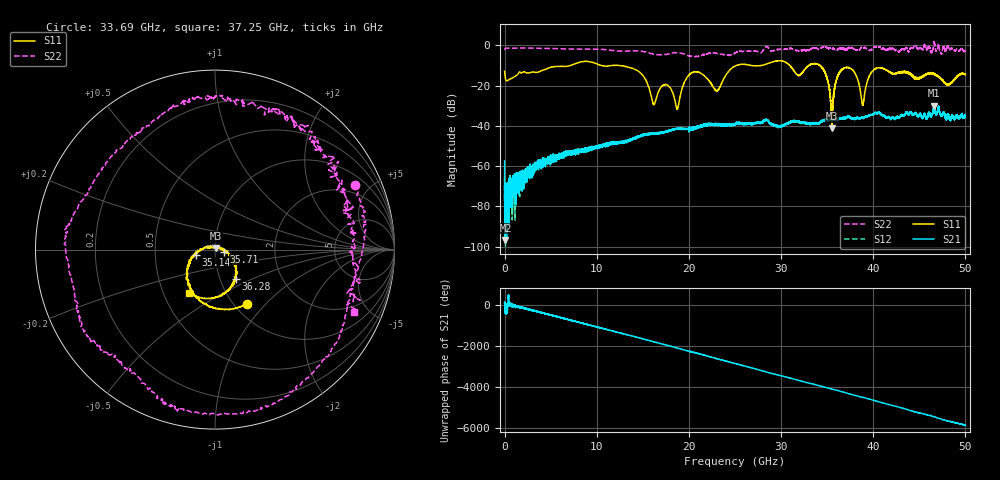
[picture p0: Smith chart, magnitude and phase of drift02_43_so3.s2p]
!Created with skrf (http://scikit-rf.org).
# Hz S RI R 50.0
!freq ReS11 ImS11 ReS21 ImS21 ReS12 ImS12 ReS22 ImS22
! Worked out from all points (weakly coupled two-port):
!   10001 points, 300 kHz to 50 GHz, reference 50 ohm
!   highest |S21| = -29.91 dB at 46.58 GHz (marker M1); lowest = -96.6 dB at 95.3 MHz (marker M2)
!   lowest |S11| = -41.2 dB at 35.54 GHz (marker M3), VSWR 1.02, Z = 50.5 + j0.732 ohm
!   |S11| at or under -10 dB: start of sweep to 7.178 GHz; 12.36 GHz to 25.18 GHz (12.82 GHz wide, 68.3 % of centre); 34.2 GHz to end of sweep (the widest 3 of 13)
!   |S22| runs from -5.7 to 2.4 dB; largest |S21 - S12| = 0.0033
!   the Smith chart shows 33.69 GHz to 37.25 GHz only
!   S11 on the Smith chart (normalised r, x): 33.69 GHz: 1.14, -0.78; 35.14 GHz: 0.81, -0.05; 35.71 GHz: 1.10, -0.02; 36.28 GHz: 1.19, -0.41; 37.25 GHz: 0.67, -0.35
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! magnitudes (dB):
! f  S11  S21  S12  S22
! 300 kHz  -12.9  -57.5  -65.4  -2.1
! 95.3 MHz  -16.7  -96.6  -76.5  -1.5
! 8.335 GHz  -8.2  -51.7  -51.7  -1.9
! 14.03 GHz  -11.8  -46.4  -46.1  -2.8
! 16.15 GHz  -29.3  -43.8  -43.8  -4.5
! 16.67 GHz  -23.3  -43.3  -43.7  -4.7
! 18.74 GHz  -31.8  -41.3  -41.6  -3.7
! 20.24 GHz  -13.9  -41.3  -41.7  -5.5
! 23.04 GHz  -22.6  -39.3  -39.3  -4.1
! 25 GHz  -10.3  -39.6  -39.2  -3.9
! 33.34 GHz  -9.4  -38.7  -38.5  -1.5
! 33.69 GHz  -9.1  -38.8  -38.5  -1.3
! 35.14 GHz  -19.2  -37.0  -37.4  -1.7
! 35.54 GHz  -41.2  -37.1  -36.6  -1.7
! 35.71 GHz  -26.0  -36.8  -36.7  -1.7
! 36.28 GHz  -13.9  -36.5  -36.5  -1.6
! 37.25 GHz  -11.0  -35.6  -35.5  -1.4
! 38.86 GHz  -29.9  -36.2  -36.0  -1.3
! 39.96 GHz  -12.7  -34.1  -34.4  -1.9
! 41.67 GHz  -13.0  -35.6  -35.3  -2.0
! 46.58 GHz  -14.1  -29.9  -30.6  1.9
! 50 GHz  -14.5  -34.7  -34.7  -2.7
